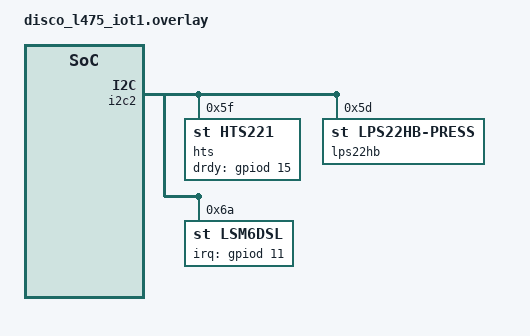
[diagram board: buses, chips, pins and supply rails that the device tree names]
/ {
    aliases {
        ht-sensor = &hts;
        pressure-sensor = &lps22hb;
        imu-sensor = &lsm6dsl;
    };
};

&i2c2 {

    hts: hts221@5f {
        compatible = "st,hts221";
        reg = <0x5f>;
        drdy-gpios = <&gpiod 15 GPIO_ACTIVE_HIGH>;
    };

    lps22hb: lps22hb-press@5d {
        compatible = "st,lps22hb-press";
        reg = <0x5d>;
    };

    lsm6dsl: lsm6dsl@6a {
        compatible = "st,lsm6dsl";
        reg = <0x6a>;
        irq-gpios = <&gpiod 11 GPIO_ACTIVE_HIGH>;
    };
};

/* boards/arm/disco_l475_iot1.overlay */
&flash0 {
    partitions {
        compatible = "fixed-partitions";
        #address-cells = <1>;
        #size-cells = <1>;

        /* Firmware area */
        firmware_partition: partition@0 {
            label = "firmware";
            reg = <0x00000000 DT_SIZE_K(896)>;
        };

        /* LittleFS partitions */
        humidity_fs: partition@e0000 {
            label = "humidity_lfs";
            reg = <0x000E0000 DT_SIZE_K(32)>;
        };

        pressure_fs: partition@e8000 {
            label = "pressure_lfs";
            reg = <0x000E8000 DT_SIZE_K(32)>;
        };

        temp_fs: partition@f0000 {
            label = "temp_lfs";
            reg = <0x000F0000 DT_SIZE_K(64)>;
        };
    };
};

